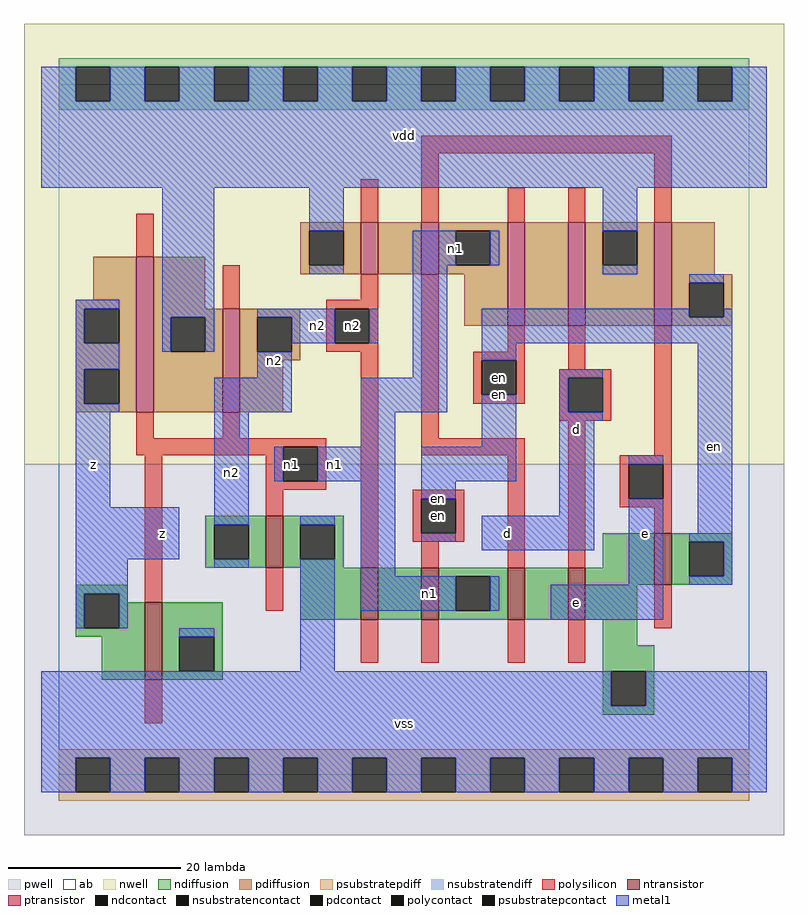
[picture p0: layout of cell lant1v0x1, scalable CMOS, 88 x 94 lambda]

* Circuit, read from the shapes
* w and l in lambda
.subckt lant1v0x1 d e en n1 n2 vdd vss z
M1 vss n1 z vss nfet w=9 l=2
M2 vss n1 n2 vss nfet w=6 l=2
M3 n3 n2 vss vss nfet w=6 l=2
M4 n1 en n3 vss nfet w=6 l=2
M5 n4 e n1 vss nfet w=6 l=2
M6 vss d n4 vss nfet w=6 l=2
M7 en e vss vss nfet w=6 l=2
M8 vdd n1 z vdd pfet w=18 l=2
M9 n2 n1 vdd vdd pfet w=12 l=2
M10 n5 n2 vdd vdd pfet w=6 l=2
M11 n1 e n5 vdd pfet w=6 l=2
M12 n6 en n1 vdd pfet w=12 l=2
M13 vdd d n6 vdd pfet w=12 l=2
M14 en e vdd vdd pfet w=12 l=2
.ends

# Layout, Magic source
magic
tech scmos
<< ab >>
rect 0 0 80 80
<< pwell >>
rect -4 -7 84 36
<< nwell >>
rect -4 36 84 87
<< polysilicon >>
rect 42 72 71 74
rect 9 60 11 65
rect 35 64 37 69
rect 42 64 44 72
rect 52 64 54 68
rect 59 64 61 68
rect 69 64 71 72
rect 19 54 21 59
rect 35 55 37 58
rect 31 54 37 55
rect 31 50 32 54
rect 36 50 37 54
rect 31 49 37 50
rect 9 39 11 42
rect 19 39 21 42
rect 9 38 31 39
rect 9 37 26 38
rect 10 20 12 37
rect 24 34 26 37
rect 30 34 31 38
rect 24 33 31 34
rect 24 30 26 33
rect 35 24 37 49
rect 42 39 44 58
rect 52 49 54 52
rect 48 48 54 49
rect 48 44 49 48
rect 53 44 54 48
rect 59 47 61 52
rect 48 43 54 44
rect 58 46 64 47
rect 58 42 59 46
rect 63 42 64 46
rect 58 41 64 42
rect 42 37 54 39
rect 41 32 47 33
rect 41 28 42 32
rect 46 28 47 32
rect 41 27 47 28
rect 42 24 44 27
rect 52 24 54 37
rect 59 24 61 41
rect 69 37 71 52
rect 65 36 71 37
rect 65 32 66 36
rect 70 32 71 36
rect 65 31 71 32
rect 69 28 71 31
rect 24 19 26 24
rect 35 13 37 18
rect 42 13 44 18
rect 52 13 54 18
rect 59 13 61 18
rect 69 17 71 22
rect 10 6 12 11
<< ndiffusion >>
rect 2 21 8 22
rect 2 17 3 21
rect 7 20 8 21
rect 17 29 24 30
rect 17 25 18 29
rect 22 25 24 29
rect 17 24 24 25
rect 26 29 33 30
rect 26 25 28 29
rect 32 25 33 29
rect 26 24 33 25
rect 63 24 69 28
rect 7 17 10 20
rect 2 16 10 17
rect 5 11 10 16
rect 12 16 19 20
rect 28 18 35 24
rect 37 18 42 24
rect 44 23 52 24
rect 44 19 46 23
rect 50 19 52 23
rect 44 18 52 19
rect 54 18 59 24
rect 61 22 69 24
rect 71 27 78 28
rect 71 23 73 27
rect 77 23 78 27
rect 71 22 78 23
rect 61 18 67 22
rect 12 12 14 16
rect 18 12 19 16
rect 63 15 67 18
rect 12 11 19 12
rect 63 12 69 15
rect 63 8 64 12
rect 68 8 69 12
rect 63 7 69 8
<< pdiffusion >>
rect 28 63 35 64
rect 4 55 9 60
rect 2 54 9 55
rect 2 50 3 54
rect 7 50 9 54
rect 2 47 9 50
rect 2 43 3 47
rect 7 43 9 47
rect 2 42 9 43
rect 11 54 17 60
rect 28 59 29 63
rect 33 59 35 63
rect 28 58 35 59
rect 37 58 42 64
rect 44 63 52 64
rect 44 59 46 63
rect 50 59 52 63
rect 44 58 52 59
rect 11 53 19 54
rect 11 49 13 53
rect 17 49 19 53
rect 11 42 19 49
rect 21 53 28 54
rect 21 49 23 53
rect 27 49 28 53
rect 21 48 28 49
rect 21 42 26 48
rect 47 52 52 58
rect 54 52 59 64
rect 61 63 69 64
rect 61 59 63 63
rect 67 59 69 63
rect 61 52 69 59
rect 71 58 76 64
rect 71 57 78 58
rect 71 53 73 57
rect 77 53 78 57
rect 71 52 78 53
<< metal1 >>
rect -2 78 2 82
rect 6 78 10 82
rect 14 78 18 82
rect 22 78 26 82
rect 30 78 34 82
rect 38 78 42 82
rect 46 78 50 82
rect 54 78 58 82
rect 62 78 66 82
rect 70 78 74 82
rect 78 78 82 82
rect -2 68 82 78
rect 2 54 7 55
rect 2 50 3 54
rect 2 47 7 50
rect 12 53 18 68
rect 29 63 33 68
rect 63 63 67 68
rect 29 58 33 59
rect 41 59 46 63
rect 50 59 51 63
rect 12 49 13 53
rect 17 49 18 53
rect 23 53 32 54
rect 27 50 32 53
rect 36 50 37 54
rect 2 43 3 47
rect 23 46 27 49
rect 41 46 45 59
rect 63 58 67 59
rect 73 57 77 58
rect 2 42 7 43
rect 18 42 27 46
rect 35 42 45 46
rect 49 53 73 54
rect 77 53 78 54
rect 49 50 78 53
rect 49 48 53 50
rect 2 31 6 42
rect 2 25 14 31
rect 18 29 22 42
rect 35 38 39 42
rect 49 38 53 44
rect 25 34 26 38
rect 30 34 39 38
rect 2 21 8 25
rect 18 24 22 25
rect 28 29 32 30
rect 2 17 3 21
rect 7 17 8 21
rect 14 16 18 17
rect 28 12 32 25
rect 35 23 39 34
rect 42 34 53 38
rect 58 46 63 47
rect 58 42 59 46
rect 58 41 63 42
rect 42 32 46 34
rect 58 30 62 41
rect 42 27 46 28
rect 49 26 62 30
rect 66 36 70 37
rect 35 19 46 23
rect 50 19 51 23
rect 66 22 70 32
rect 74 28 78 50
rect 73 27 78 28
rect 77 23 78 27
rect 73 22 78 23
rect 57 18 70 22
rect -2 8 64 12
rect 68 8 82 12
rect -2 2 82 8
rect -2 -2 2 2
rect 6 -2 10 2
rect 14 -2 18 2
rect 22 -2 26 2
rect 30 -2 34 2
rect 38 -2 42 2
rect 46 -2 50 2
rect 54 -2 58 2
rect 62 -2 66 2
rect 70 -2 74 2
rect 78 -2 82 2
<< ntransistor >>
rect 24 24 26 30
rect 10 11 12 20
rect 35 18 37 24
rect 42 18 44 24
rect 52 18 54 24
rect 59 18 61 24
rect 69 22 71 28
<< ptransistor >>
rect 9 42 11 60
rect 35 58 37 64
rect 42 58 44 64
rect 19 42 21 54
rect 52 52 54 64
rect 59 52 61 64
rect 69 52 71 64
<< polycontact >>
rect 32 50 36 54
rect 26 34 30 38
rect 49 44 53 48
rect 59 42 63 46
rect 42 28 46 32
rect 66 32 70 36
<< ndcontact >>
rect 3 17 7 21
rect 18 25 22 29
rect 28 25 32 29
rect 46 19 50 23
rect 73 23 77 27
rect 14 12 18 16
rect 64 8 68 12
<< pdcontact >>
rect 3 50 7 54
rect 3 43 7 47
rect 29 59 33 63
rect 46 59 50 63
rect 13 49 17 53
rect 23 49 27 53
rect 63 59 67 63
rect 73 53 77 57
<< psubstratepcontact >>
rect 2 -2 6 2
rect 10 -2 14 2
rect 18 -2 22 2
rect 26 -2 30 2
rect 34 -2 38 2
rect 42 -2 46 2
rect 50 -2 54 2
rect 58 -2 62 2
rect 66 -2 70 2
rect 74 -2 78 2
<< nsubstratencontact >>
rect 2 78 6 82
rect 10 78 14 82
rect 18 78 22 82
rect 26 78 30 82
rect 34 78 38 82
rect 42 78 46 82
rect 50 78 54 82
rect 58 78 62 82
rect 66 78 70 82
rect 74 78 78 82
<< psubstratepdiff >>
rect 0 2 80 3
rect 0 -2 2 2
rect 6 -2 10 2
rect 14 -2 18 2
rect 22 -2 26 2
rect 30 -2 34 2
rect 38 -2 42 2
rect 46 -2 50 2
rect 54 -2 58 2
rect 62 -2 66 2
rect 70 -2 74 2
rect 78 -2 80 2
rect 0 -3 80 -2
<< nsubstratendiff >>
rect 0 82 80 83
rect 0 78 2 82
rect 6 78 10 82
rect 14 78 18 82
rect 22 78 26 82
rect 30 78 34 82
rect 38 78 42 82
rect 46 78 50 82
rect 54 78 58 82
rect 62 78 66 82
rect 70 78 74 82
rect 78 78 80 82
rect 0 77 80 78
<< labels >>
rlabel polycontact 44 30 44 30 6 en
rlabel polycontact 27 36 27 36 6 n1
rlabel polycontact 34 52 34 52 6 n2
rlabel polycontact 51 46 51 46 6 en
rlabel metal1 4 36 4 36 6 z
rlabel metal1 12 28 12 28 6 z
rlabel metal1 20 35 20 35 6 n2
rlabel metal1 25 48 25 48 6 n2
rlabel metal1 40 6 40 6 6 vss
rlabel metal1 44 32 44 32 6 en
rlabel metal1 32 36 32 36 6 n1
rlabel metal1 30 52 30 52 6 n2
rlabel metal1 40 74 40 74 6 vdd
rlabel metal1 52 28 52 28 6 d
rlabel metal1 43 21 43 21 6 n1
rlabel metal1 60 20 60 20 6 e
rlabel metal1 60 40 60 40 6 d
rlabel metal1 51 44 51 44 6 en
rlabel metal1 46 61 46 61 6 n1
rlabel metal1 68 28 68 28 6 e
rlabel metal1 76 38 76 38 6 en
<< end >>
